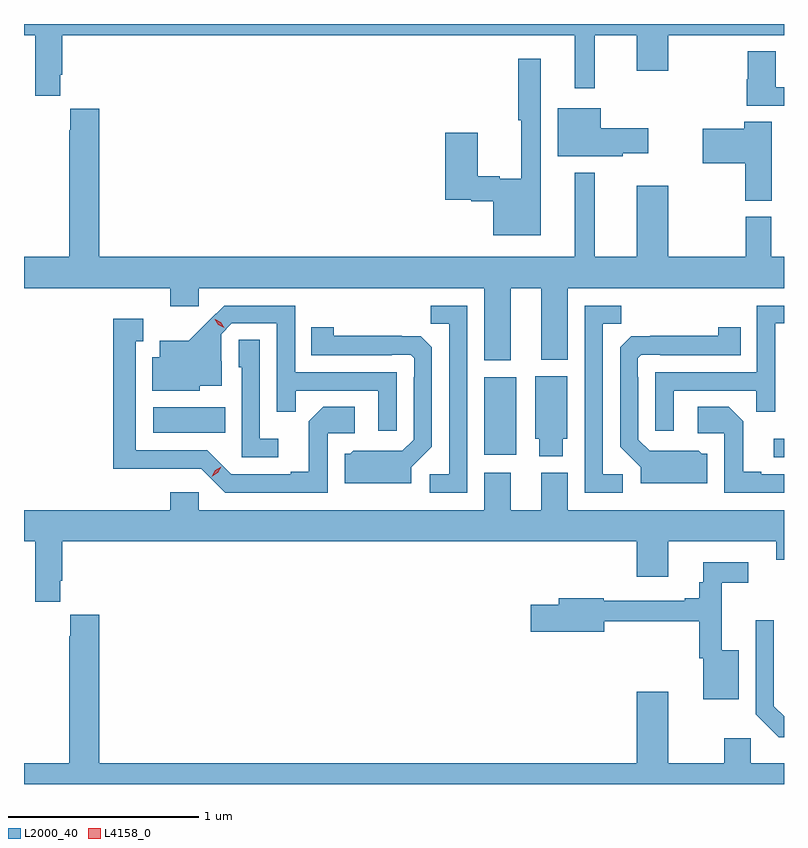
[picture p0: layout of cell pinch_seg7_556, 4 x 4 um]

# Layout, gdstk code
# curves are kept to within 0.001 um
import gdstk
lib = gdstk.Library(unit=1e-6, precision=1e-09)
def R(c, l, rs):  # rectangles x0, y0, x1, y1
    for r in rs: c.add(gdstk.rectangle(r[:2], r[2:], *l))
def P(c, l, *ps):  # polygons
    for p in ps: c.add(gdstk.Polygon(p, *l))
L2000_40 = (2000, 40)
L4158_0 = (4158, 0)

pinch_seg7_556 = lib.new_cell('pinch_seg7_556')
R(pinch_seg7_556, L2000_40, [(141.753,1043.682,141.806,1043.779), (140.228,1043.694,140.398,1044.103), (138.486,1043.81,138.866,1043.944)])
P(pinch_seg7_556, L2000_40, [(137.998,1045.696),(138.008,1045.696),(138.008,1045.904),(140.705,1045.904),(140.705,1045.623),(140.809,1045.623),(140.809,1045.904),(141.032,1045.904),(141.032,1045.716),(141.196,1045.716),(141.196,1045.904),(141.806,1045.904),(141.806,1045.962),(137.806,1045.962),(137.806,1045.904),(137.864,1045.904),(137.864,1045.584),(137.998,1045.584)],
  [(141.806,1045.629),(141.763,1045.629),(141.763,1045.819),(141.616,1045.819),(141.616,1045.671),(141.611,1045.671),(141.611,1045.533),(141.806,1045.533)],
  [(140.527,1045.78),(140.406,1045.78),(140.406,1045.455),(140.423,1045.455),(140.423,1045.147),(140.309,1045.147),(140.309,1045.16),(140.194,1045.16),(140.194,1045.39),(140.024,1045.39),(140.024,1045.037),(140.16,1045.037),(140.16,1045.03),(140.276,1045.03),(140.276,1044.851),(140.527,1044.851)],
  [(140.958,1045.283),(141.091,1045.283),(141.091,1045.413),(140.842,1045.413),(140.842,1045.519),(140.615,1045.519),(140.615,1045.265),(140.958,1045.265)],
  [(140.368,1044.572),(140.528,1044.572),(140.528,1044.194),(140.668,1044.194),(140.668,1044.572),(141.806,1044.572),(141.806,1044.736),(141.739,1044.736),(141.739,1044.948),(141.604,1044.948),(141.604,1044.736),(141.196,1044.736),(141.196,1045.111),(141.032,1045.111),(141.032,1044.736),(140.809,1044.736),(140.809,1045.18),(140.705,1045.18),(140.705,1044.736),(138.203,1044.736),(138.203,1045.516),(138.049,1045.516),(138.049,1045.403),(138.043,1045.403),(138.043,1044.736),(137.806,1044.736),(137.806,1044.572),(138.575,1044.572),(138.575,1044.477),(138.726,1044.477),(138.726,1044.572),(140.228,1044.572),(140.228,1044.192),(140.368,1044.192)],
  [(141.742,1045.448),(141.596,1045.448),(141.596,1045.412),(141.378,1045.412),(141.378,1045.228),(141.601,1045.228),(141.601,1045.033),(141.742,1045.033)],
  [(141.225,1044.033),(141.661,1044.033),(141.661,1043.92),(141.759,1043.92),(141.759,1044.387),(141.806,1044.387),(141.806,1044.48),(141.663,1044.48),(141.663,1044.129),(141.129,1044.129),(141.129,1043.82),(141.225,1043.82)],
  [(139.767,1044.129),(139.233,1044.129),(139.233,1044.48),(138.86,1044.48),(138.673,1044.295),(138.521,1044.295),(138.521,1044.208),(138.482,1044.208),(138.482,1044.032),(138.732,1044.032),(138.732,1044.059),(138.847,1044.059),(138.847,1044.188),(138.843,1044.188),(138.843,1044.33),(138.9,1044.387),(139.137,1044.387),(139.137,1043.92),(139.235,1043.92),(139.235,1044.033),(139.671,1044.033),(139.671,1043.82),(139.767,1043.82)],
  [(140.956,1043.592),(140.853,1043.592),(140.853,1044.385),(140.949,1044.385),(140.949,1044.48),(140.757,1044.48),(140.757,1043.496),(140.956,1043.496)],
  [(140.139,1044.48),(139.948,1044.48),(139.948,1044.385),(140.043,1044.385),(140.043,1043.592),(139.941,1043.592),(139.941,1043.496),(140.139,1043.496)],
  [(139.404,1043.808),(139.546,1043.808),(139.546,1043.948),(139.381,1043.948),(139.305,1043.872),(139.305,1043.605),(139.211,1043.605),(139.211,1043.592),(138.897,1043.592),(138.771,1043.718),(138.394,1043.718),(138.394,1044.291),(138.433,1044.291),(138.433,1044.412),(138.276,1044.412),(138.276,1043.621),(138.738,1043.622),(138.864,1043.496),(139.404,1043.496)],
  [(139.843,1043.628),(139.953,1043.738),(139.953,1044.26),(139.894,1044.319),(139.437,1044.32),(139.437,1044.367),(139.318,1044.367),(139.318,1044.219),(139.742,1044.219),(139.742,1044.222),(139.842,1044.222),(139.86,1044.204),(139.86,1044.104),(139.857,1044.104),(139.857,1043.775),(139.797,1043.715),(139.54,1043.716),(139.524,1043.7),(139.493,1043.7),(139.493,1043.546),(139.843,1043.546)],
  [(141.403,1043.7),(141.372,1043.7),(141.356,1043.716),(141.099,1043.715),(141.039,1043.775),(141.039,1044.104),(141.036,1044.104),(141.036,1044.204),(141.054,1044.222),(141.154,1044.222),(141.154,1044.219),(141.578,1044.219),(141.578,1044.367),(141.46,1044.367),(141.46,1044.32),(141.002,1044.319),(140.943,1044.26),(140.943,1043.738),(141.053,1043.628),(141.053,1043.546),(141.403,1043.546)],
  [(139.144,1043.779),(139.047,1043.779),(139.047,1044.299),(138.936,1044.299),(138.936,1044.156),(138.951,1044.156),(138.951,1043.682),(139.144,1043.682)],
  [(140.641,1043.778),(140.665,1043.778),(140.665,1044.109),(140.498,1044.109),(140.498,1043.778),(140.519,1043.778),(140.519,1043.687),(140.641,1043.687)],
  [(141.806,1043.592),(141.685,1043.592),(141.685,1043.605),(141.591,1043.605),(141.591,1043.872),(141.515,1043.948),(141.351,1043.948),(141.351,1043.808),(141.492,1043.808),(141.492,1043.496),(141.806,1043.496)],
  [(137.998,1043.032),(138.008,1043.032),(138.008,1043.24),(141.032,1043.24),(141.032,1043.052),(141.196,1043.052),(141.196,1043.24),(141.764,1043.24),(141.764,1043.142),(141.806,1043.142),(141.806,1043.404),(140.668,1043.404),(140.668,1043.599),(140.528,1043.599),(140.528,1043.404),(140.368,1043.404),(140.368,1043.599),(140.228,1043.599),(140.228,1043.404),(138.726,1043.404),(138.726,1043.497),(138.575,1043.497),(138.575,1043.404),(137.806,1043.404),(137.806,1043.24),(137.864,1043.24),(137.864,1042.92),(137.998,1042.92)],
  [(141.568,1042.666),(141.479,1042.666),(141.479,1043.022),(141.619,1043.022),(141.619,1043.13),(141.38,1043.13),(141.38,1043.025),(141.361,1043.025),(141.361,1042.939),(141.284,1042.939),(141.284,1042.926),(140.856,1042.926),(140.856,1042.939),(140.621,1042.939),(140.621,1042.905),(140.472,1042.905),(140.472,1042.763),(140.86,1042.763),(140.86,1042.818),(141.361,1042.818),(141.361,1042.623),(141.38,1042.623),(141.38,1042.409),(141.568,1042.409)],
  [(141.806,1042.072),(141.63,1042.072),(141.63,1042.204),(141.491,1042.204),(141.491,1042.072),(141.196,1042.072),(141.196,1042.447),(141.032,1042.447),(141.032,1042.072),(138.203,1042.072),(138.203,1042.852),(138.049,1042.852),(138.049,1042.739),(138.043,1042.739),(138.043,1042.072),(137.806,1042.072),(137.806,1041.962),(141.806,1041.962)],
  [(141.806,1042.318),(141.753,1042.371),(141.753,1042.825),(141.657,1042.825),(141.657,1042.329),(141.778,1042.208),(141.806,1042.208)])
P(pinch_seg7_556, L4158_0, [(138.859,1044.363),(138.829,1044.378),(138.811,1044.408),(138.811,1044.408),(138.812,1044.408),(138.842,1044.393),(138.86,1044.364),(138.86,1044.363)],
  [(138.795,1043.58),(138.795,1043.58),(138.812,1043.613),(138.844,1043.631),(138.844,1043.631),(138.844,1043.631),(138.827,1043.599),(138.795,1043.58)])

lib.write_gds('pinch_seg7_556.gds')
